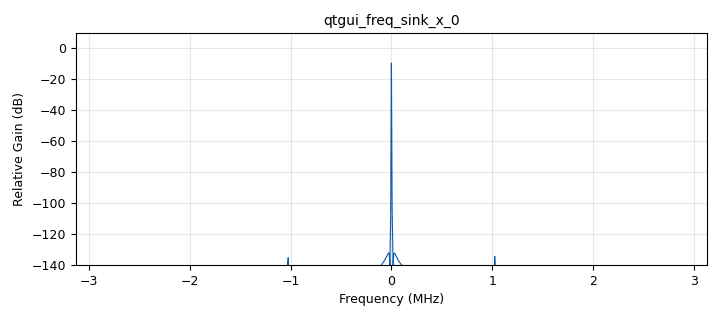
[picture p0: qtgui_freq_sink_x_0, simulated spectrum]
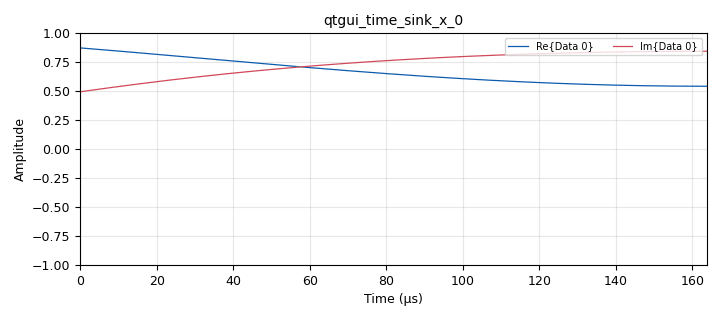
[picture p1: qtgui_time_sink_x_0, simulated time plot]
options:
  parameters:
    author: Fabian Moreno - Juan Morales
    generate_options: qt_gui
    id: ModulacionPM
    output_language: python
    title: Modulacion Pm
  states: {}

blocks:
- name: Ac
  id: variable_qtgui_range
  parameters:
    label: Amplitud portadora
    start: '0'
    step: '1e-6'
    stop: '1'
    value: '1'
  states: {}
- name: Am
  id: variable_qtgui_range
  parameters:
    label: Amplitud mensaje
    start: '0'
    step: '1e-6'
    stop: '1'
    value: '1'
  states: {}
- name: GTX
  id: variable_qtgui_range
  parameters:
    label: ganancia transmisor
    start: '0'
    step: '1'
    stop: '30'
    value: '1'
  states: {}
- name: fc
  id: variable_qtgui_range
  parameters:
    label: 'frecuencia portadora '
    start: 50e6
    step: 1e6
    stop: 2e9
    value: 50e6
  states: {}
- name: fm
  id: variable_qtgui_range
  parameters:
    label: Frecuencia mensaje
    start: '1000'
    step: '100'
    stop: '20000'
    value: '1000'
  states: {}
- name: kp
  id: variable_qtgui_range
  parameters:
    label: coeficiente kp
    start: '0'
    step: '1e-6'
    stop: '40'
    value: '1'
  states: {}
- name: samp_rate
  id: variable
  parameters:
    value: 6.25e6
  states: {}
- name: Ac
  id: parameter
  parameters:
    label: Amplitud Portadora
    type: eng_float
    value: '100e-3'
  states: {state: disabled}
- name: analog_sig_source_x_0
  id: analog_sig_source_x
  parameters:
    amp: Am
    freq: fm
    offset: '0'
    phase: '0'
    samp_rate: samp_rate
    type: float
    waveform: analog.GR_COS_WAVE
  states: {}
- name: blocks_float_to_complex_0
  id: blocks_float_to_complex
  parameters: {}
  states: {}
- name: blocks_multiply_const_vxx_0
  id: blocks_multiply_const_vxx
  parameters:
    const: Ac
    type: complex
  states: {}
- name: blocks_multiply_const_vxx_1
  id: blocks_multiply_const_vxx
  parameters:
    const: kp
    type: float
  states: {}
- name: blocks_transcendental_0
  id: blocks_transcendental
  parameters:
    name: cos
    type: float
  states: {}
- name: blocks_transcendental_1
  id: blocks_transcendental
  parameters:
    name: sin
    type: float
  states: {}
- name: kp
  id: parameter
  parameters:
    label: Coeficiente de Modulacion PM
    type: eng_float
    value: '1'
  states: {state: disabled}
- name: qtgui_freq_sink_x_0
  id: qtgui_freq_sink_x
  parameters:
    bw: samp_rate
    fc: '0'
    fftsize: '8192'
    type: complex
  states: {}
- name: qtgui_time_sink_x_0
  id: qtgui_time_sink_x
  parameters:
    size: '1024'
    srate: samp_rate
    type: complex
  states: {}
- name: uhd_usrp_sink_0
  id: uhd_usrp_sink
  parameters:
    ant0: '"TX/RX"'
    center_freq0: fc
    gain0: GTX
    samp_rate: samp_rate
    sync: pc_clock
    type: fc32
  states: {}

connections:
- [analog_sig_source_x_0, '0', blocks_multiply_const_vxx_1, '0']
- [blocks_float_to_complex_0, '0', blocks_multiply_const_vxx_0, '0']
- [blocks_multiply_const_vxx_0, '0', qtgui_freq_sink_x_0, '0']
- [blocks_multiply_const_vxx_0, '0', qtgui_time_sink_x_0, '0']
- [blocks_multiply_const_vxx_0, '0', uhd_usrp_sink_0, '0']
- [blocks_multiply_const_vxx_1, '0', blocks_transcendental_0, '0']
- [blocks_multiply_const_vxx_1, '0', blocks_transcendental_1, '0']
- [blocks_transcendental_0, '0', blocks_float_to_complex_0, '0']
- [blocks_transcendental_1, '0', blocks_float_to_complex_0, '1']

metadata:
  file_format: 1
